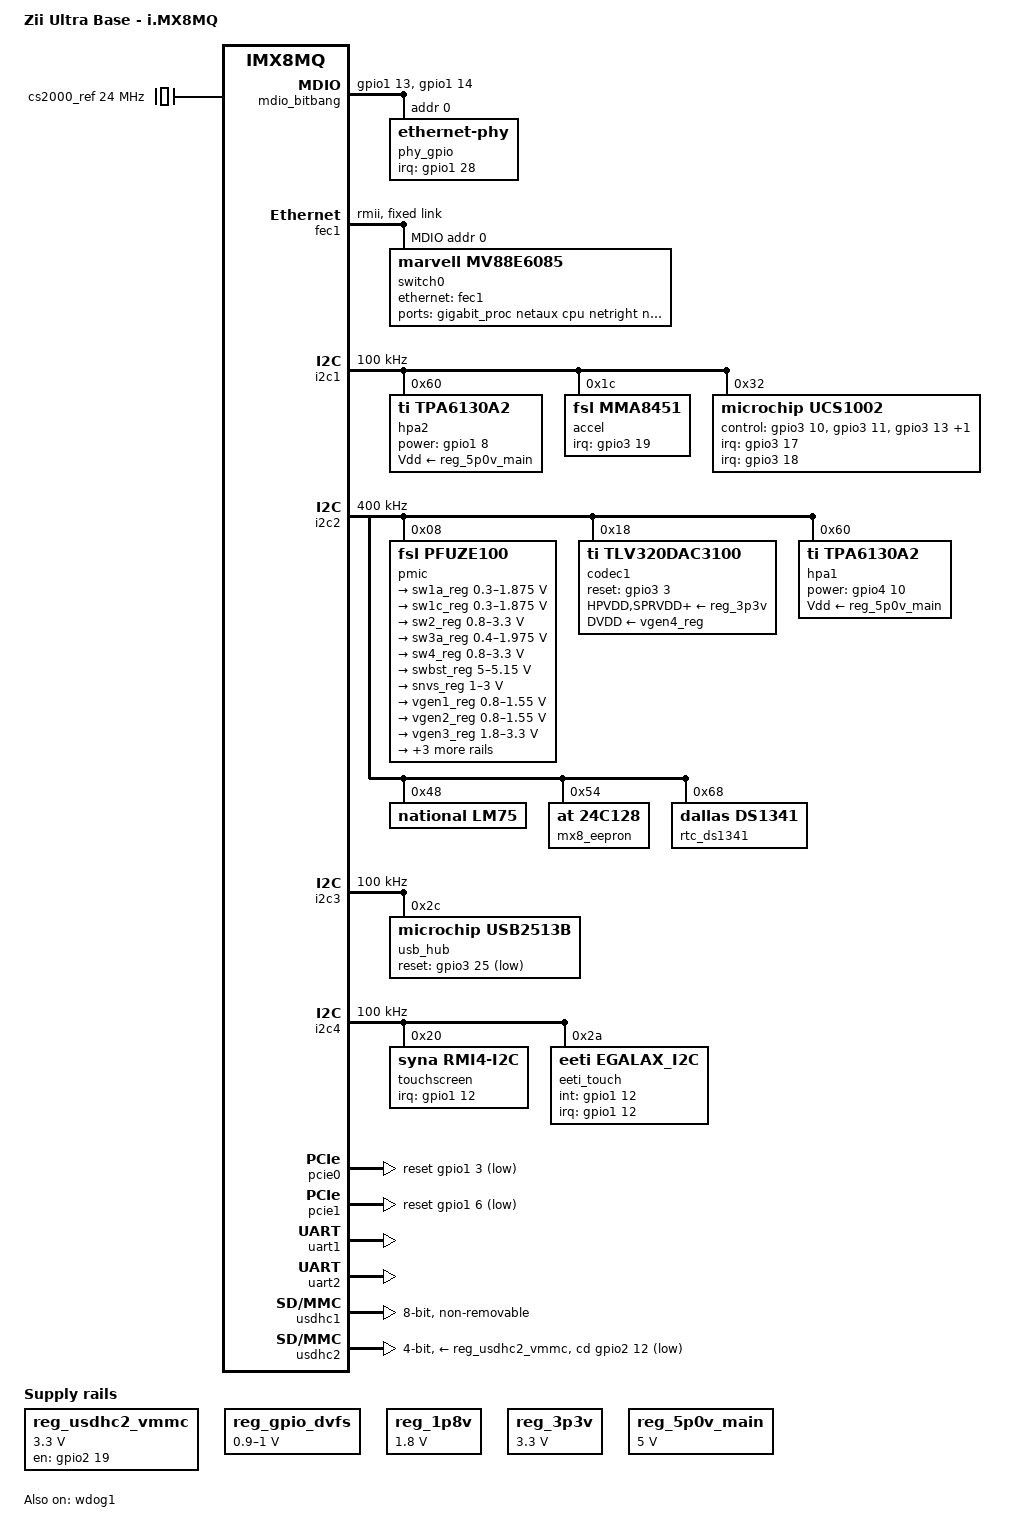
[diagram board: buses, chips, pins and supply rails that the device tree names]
/*
 * Copyright 2018 Zii
 *
 * This program is free software; you can redistribute it and/or
 * modify it under the terms of the GNU General Public License
 * as published by the Free Software Foundation; either version 2
 * of the License, or (at your option) any later version.
 *
 * This program is distributed in the hope that it will be useful,
 * but WITHOUT ANY WARRANTY; without even the implied warranty of
 * MERCHANTABILITY or FITNESS FOR A PARTICULAR PURPOSE.  See the
 * GNU General Public License for more details.
 */



#include "imx8mq.dtsi"

/ {
	model = "Zii Ultra Base - i.MX8MQ";
	compatible = "fsl,imx8mq-evk", "fsl,imx8mq";

	chosen {
		bootargs = "console=ttymxc0,115200 earlycon=ec_imx6q,0x30860000,115200";
		stdout-path = &uart1;
	};

	aliases {
		mdio-gpio0 = &mdio_bitbang;
		rtc0 = &rtc_ds1341;
		/* spi0 = &ecspi1; */
	};

	regulators {
		compatible = "simple-bus";
		#address-cells = <1>;
		#size-cells = <0>;

		reg_usdhc2_vmmc: usdhc2_vmmc {
			compatible = "regulator-fixed";
			regulator-name = "VSD_3V3";
			regulator-min-microvolt = <3300000>;
			regulator-max-microvolt = <3300000>;
			gpio = <&gpio2 19 GPIO_ACTIVE_HIGH>;
			enable-active-high;
		};

		reg_gpio_dvfs: regulator-gpio {
			compatible = "regulator-gpio";
			pinctrl-names = "default";
			pinctrl-0 = <&pinctrl_dvfs>;
			regulator-min-microvolt = <900000>;
			regulator-max-microvolt = <1000000>;
			regulator-name = "gpio_dvfs";
			regulator-type = "voltage";
			gpios = <&gpio3 16 GPIO_ACTIVE_HIGH>;
			states = <900000 0x1 1000000 0x0>;
		};

		reg_1p8v: regulator-1p8v {
			compatible = "regulator-fixed";
			regulator-name = "GEN_1V8";
			regulator-min-microvolt = <1800000>;
			regulator-max-microvolt = <1800000>;
			regulator-always-on;
		};

		reg_3p3v: regulator-3p3v {
			compatible = "regulator-fixed";
			regulator-name = "GEN_3V3";
			regulator-min-microvolt = <3300000>;
			regulator-max-microvolt = <3300000>;
			regulator-always-on;
		};

		reg_5p0v_main: regulator-5p0v-main {
			compatible = "regulator-fixed";
			regulator-name = "5V_MAIN";
			regulator-min-microvolt = <5000000>;
			regulator-max-microvolt = <5000000>;
			regulator-always-on;
		};
	};

	cs2000_ref: cs2000-ref {
		compatible = "fixed-clock";
		#clock-cells = <0>;
		clock-frequency = <24000000>;
	};

	cs2000_in_dummy: cs2000-in-dummy {
		compatible = "fixed-clock";
		#clock-cells = <0>;
		clock-frequency = <0>;
	};
#if 0
	sound1 {
		compatible = "simple-audio-card";
		simple-audio-card,name = "Front";
		simple-audio-card,format = "i2s";
		simple-audio-card,bitclock-master = <&sound1_codec>;
		simple-audio-card,frame-master = <&sound1_codec>;
		simple-audio-card,widgets =
			"Headphone", "Headphone Jack";
		simple-audio-card,routing =
			"Headphone Jack", "HPLEFT",
			"Headphone Jack", "HPRIGHT",
			"LEFTIN", "HPL",
			"RIGHTIN", "HPR";
		simple-audio-card,aux-devs = <&hpa1>;

		simple-audio-card,cpu {
			sound-dai = <&sai2>;
		};

		sound1_codec: simple-audio-card,codec {
			sound-dai = <&codec1>;
			clocks = <&cs2000_ref>;
		};
	};
#endif
	mdio_bitbang: mdio {
		compatible = "virtual,mdio-gpio";
		#address-cells = <1>;
		#size-cells = <0>;
		pinctrl-names = "default";
		pinctrl-0 = <&pinctrl_mdio_bitbang>;
		gpios = <&gpio1 13 GPIO_ACTIVE_HIGH
		         &gpio1 14 GPIO_ACTIVE_HIGH>;

		phy_gpio: ethernet-phy@0 {
			pinctrl-0 = <&pinctrl_rmii_phy_irq>;
			pinctrl-names = "default";
			reg = <0>;
			interrupt-parent = <&gpio1>;
			interrupts = <28 IRQ_TYPE_LEVEL_LOW>;
		};
	};

	discrete_outputs {
                compatible = "gpio-of-helper";
                pinctrl-names = "default";
                pinctrl-0 = <&pinctrl_discrete_out>;
                status = "okay";

		/* This is a bit of a hack to deal with the reset
			GPIO for the KSZ8091 PHY connected to the FEC.
			The PHY is probed via the mdio-gpio bus before the FEC
			is initialized causing a timing problem with the
			reset GPIO. This sets the GPIO to the deasserted
			state prior to the mdio-gpio bus being probed
		*/
                discrete_phy_reset {
                        gpio-name = "micrel_phy_reset_n";
                        gpio = <&gpio1 29 GPIO_ACTIVE_HIGH>;
                        output;
                        init-high;
                };
	};

};

&clk {
	assigned-clocks = <&clk IMX8MQ_AUDIO_PLL1>, <&clk IMX8MQ_AUDIO_PLL2>;
	assigned-clock-rates = <786432000>, <722534400>;
};

&fec1 {
	pinctrl-names = "default";
	pinctrl-0 = <&pinctrl_fec1>;
	phy-mode = "rmii";
	fsl,magic-packet;
	status = "okay";

	fixed-link {
		speed = <100>;
		full-duplex;
	};

	mdio1: mdio {
		#address-cells = <1>;
		#size-cells = <0>;
		status = "okay";

		switch0: switch0@0 {
			compatible = "marvell,mv88e6085";
			#address-cells = <1>;
			#size-cells = <0>;
			reg = <0>;
			eeprom-length = <512>;

			ports {
				#address-cells = <1>;
				#size-cells = <0>;
				port@0 {
					reg = <0>;
					label = "gigabit_proc";
				};

				port@1 {
					reg = <1>;
					label = "netaux";
				};

				port@2 {
					reg = <2>;
					label = "cpu";
					ethernet = <&fec1>;
					fixed-link {
						speed = <100>;
						full-duplex;
					};
				};

				port@3 {
					reg = <3>;
					label = "netright";
				};

				port@4 {
					reg = <4>;
					label = "netleft";
				};
			};
		};
	};
};

&i2c1 {
	clock-frequency = <100000>;
	pinctrl-names = "default";
	pinctrl-0 = <&pinctrl_i2c1>;
	status = "okay";

	hpa2: amp@60 {
		compatible = "ti,tpa6130a2";
		pinctrl-names = "default";
		pinctrl-0 = <&pinctrl_tpa2>;
		reg = <0x60>;
		power-gpio = <&gpio1 8 GPIO_ACTIVE_HIGH>;
		Vdd-supply = <&reg_5p0v_main>;
	};

	accel: mma8452@1c {
		compatible = "fsl,mma8451";
		pinctrl-names = "default";
		pinctrl-0 = <&pinctrl_accel_int>;
		reg = <0x1c>;
		interrupt-parent = <&gpio3>;
		interrupts = <19 IRQ_TYPE_EDGE_RISING
			      20 IRQ_TYPE_EDGE_RISING>;
	};

	ucs1002: ucs1002@32 {
		compatible = "microchip,ucs1002";
		reg = <0x32>;
		pinctrl-names = "default";
		pinctrl-0 = <&pinctrl_ucs1002_pins>;
		interrupts-extended = <&gpio3 17 0>, <&gpio3 18 0>;
		microchip,current-limit = <2000000>;
		control-gpios = <&gpio3 10 GPIO_ACTIVE_HIGH>,	 /* EM_EN */
				<&gpio3 11 GPIO_ACTIVE_HIGH>,	 /* M1 */
				<&gpio3 13 GPIO_ACTIVE_HIGH>,	 /* M2 */
				<&gpio3 12 GPIO_ACTIVE_LOW>;	 /* PWR_EN: Polarity is determined by SEL pin */
	};
};

&i2c2 {
	clock-frequency = <400000>;
	pinctrl-names = "default";
	pinctrl-0 = <&pinctrl_i2c2>;
	status = "okay";

	pmic: pfuze100@08 {
		compatible = "fsl,pfuze100";
		reg = <0x08>;

		regulators {
			sw1a_reg: sw1ab {
				regulator-min-microvolt = <300000>;
				regulator-max-microvolt = <1875000>;
			};

			sw1c_reg: sw1c {
				regulator-min-microvolt = <300000>;
				regulator-max-microvolt = <1875000>;
			};

			sw2_reg: sw2 {
				regulator-min-microvolt = <800000>;
				regulator-max-microvolt = <3300000>;
				regulator-always-on;
			};

			sw3a_reg: sw3ab {
				regulator-min-microvolt = <400000>;
				regulator-max-microvolt = <1975000>;
				regulator-always-on;
			};

			sw4_reg: sw4 {
				regulator-min-microvolt = <800000>;
				regulator-max-microvolt = <3300000>;
				regulator-always-on;
			};

			swbst_reg: swbst {
				regulator-min-microvolt = <5000000>;
				regulator-max-microvolt = <5150000>;
			};

			snvs_reg: vsnvs {
				regulator-min-microvolt = <1000000>;
				regulator-max-microvolt = <3000000>;
				regulator-always-on;
			};

			vref_reg: vrefddr {
				regulator-always-on;
			};

			vgen1_reg: vgen1 {
				regulator-min-microvolt = <800000>;
				regulator-max-microvolt = <1550000>;
			};

			vgen2_reg: vgen2 {
				regulator-min-microvolt = <800000>;
				regulator-max-microvolt = <1550000>;
				regulator-always-on;
			};

			vgen3_reg: vgen3 {
				regulator-min-microvolt = <1800000>;
				regulator-max-microvolt = <3300000>;
				regulator-always-on;
			};

			vgen4_reg: vgen4 {
				regulator-min-microvolt = <1800000>;
				regulator-max-microvolt = <3300000>;
				regulator-always-on;
			};

			vgen5_reg: vgen5 {
				regulator-min-microvolt = <1800000>;
				regulator-max-microvolt = <3300000>;
				regulator-always-on;
			};

			vgen6_reg: vgen6 {
				regulator-min-microvolt = <1800000>;
				regulator-max-microvolt = <3300000>;
			};
		};
	};

	codec1: codec@18 {
		compatible = "ti,tlv320dac3100";
		pinctrl-names = "default";
		pinctrl-0 = <&pinctrl_codec1>;
		reg = <0x18>;
		#sound-dai-cells = <0>;
		HPVDD-supply = <&reg_3p3v>;
		SPRVDD-supply = <&reg_3p3v>;
		SPLVDD-supply = <&reg_3p3v>;
		AVDD-supply = <&reg_3p3v>;
		IOVDD-supply = <&reg_3p3v>;
		DVDD-supply = <&vgen4_reg>;
		gpio-reset = <&gpio3 3 GPIO_ACTIVE_HIGH>;
	};

	hpa1: amp@60 {
		compatible = "ti,tpa6130a2";
		pinctrl-names = "default";
		pinctrl-0 = <&pinctrl_tpa1>;
		reg = <0x60>;
		power-gpio = <&gpio4 10 GPIO_ACTIVE_HIGH>;
		Vdd-supply = <&reg_5p0v_main>;
	};

	lm75@48 {
		compatible = "national,lm75";
		reg = <0x48>;
	};

	mx8_eepron: at24@54 {
		compatible = "at,24c128";
		pagesize = <32>;
		reg = <0x54>;
	};

	rtc_ds1341: ds1341@68 {
		compatible = "dallas,ds1341";
		reg = <0x68>;
	};
};

&i2c3 {
	clock-frequency = <100000>;
	pinctrl-names = "default";
	pinctrl-0 = <&pinctrl_i2c3>;
	status = "okay";

	usb_hub: usb2513b@2c {
		compatible = "microchip,usb2513b";
		pinctrl-names = "default";
		pinctrl-0 = <&pinctrl_usb2513b>;
		#address-cells=<1>;
		#size-cells=<1>;
		reg = <0x2C>;
		reset-gpios = <&gpio3 25 GPIO_ACTIVE_LOW>;
	};

#if 0
	cs2000: clkgen@4e {
		compatible = "cirrus,cs2000-cp";
		reg = <0x4e>;
		#clock-cells = <0>;
		clock-names = "clk_in", "ref_clk";
		clocks = <&cs2000_in_dummy>, <&cs2000_ref>;
		assigned-clocks = <&cs2000>;
		assigned-clock-rates = <24000000>;
	};
#endif
};

&i2c4 {
	clock-frequency = <100000>;
	pinctrl-names = "default";
	pinctrl-0 = <&pinctrl_i2c4>;
	status = "okay";

	touchscreen@20 {
		compatible = "syna,rmi4-i2c";
		pinctrl-names = "default";
		pinctrl-0 = <&pinctrl_ts>;
		reg = <0x20>;
		interrupt-parent = <&gpio1>;
		interrupts = <12 IRQ_TYPE_LEVEL_LOW>;

		#address-cells = <1>;
		#size-cells = <0>;

		rmi4-f01@1 {
			reg = <0x1>;
			syna,nosleep-mode = <2>;
		};

		rmi4-f11@11 {
			reg = <0x11>;
			touchscreen-inverted-y;
			touchscreen-swapped-x-y;
			syna,sensor-type = <1>;
		};

		rmi4-f12@12 {
			reg = <0x12>;
			touchscreen-inverted-y;
			touchscreen-swapped-x-y;
			syna,sensor-type = <1>;
		};
	};

	eeti_touch: eeti_i2c@2a {
		compatible = "eeti,egalax_i2c";
		reg = <0x2a>;
		interrupt-parent = <&gpio1>;
		interrupts = <12 IRQ_TYPE_LEVEL_LOW>;
		int-gpios = <&gpio1 12 0>;
	};
};

&pcie0 {
	pinctrl-names = "default";
	pinctrl-0 = <&pinctrl_pcie0>;
	reset-gpio = <&gpio1 3 GPIO_ACTIVE_LOW>;
	/* status = "okay"; */
};

&pcie1 {
	pinctrl-names = "default";
	pinctrl-0 = <&pinctrl_pcie1>;
	reset-gpio = <&gpio1 6 GPIO_ACTIVE_LOW>;
	status = "okay";

	pcie@0,0 {
		reg = <0x000000 0 0 0 0>;

		#address-cells = <3>;
		#size-cells = <2>;

		/* pcie endpoint 01:00.0 */
		eth1: intel,i210@pcie0,0 {
                         reg = <0x010000 0 0 0 0>;
                };
	};
};

#if 0
&ecspi1 {
	pinctrl-names = "default";
	pinctrl-0 = <&pinctrl_ecspi1>;
	cs-gpios = <&gpio5 9 GPIO_ACTIVE_LOW>;
	status = "okay";

	nor_flash: m25p128@0 {
		compatible = "st,m25p128", "jedec,spi-nor";
		#address-cells = <1>;
		#size-cells = <1>;
		spi-max-frequency = <20000000>;
		reg = <0>;
	};
};

&ecspi2 {
	pinctrl-names = "default";
	pinctrl-0 = <&pinctrl_ecspi2>;
	status = "okay";
};
#endif
&uart1 { /* console */
	pinctrl-names = "default";
	pinctrl-0 = <&pinctrl_uart1>;
	/* assigned-clocks = <&clk IMX8MQ_CLK_UART1_SRC>; */
	/* assigned-clock-parents = <&clk IMX8MQ_CLK_25M>; */
	status = "okay";
};

&uart2 { /* Supervisory Processor */
	pinctrl-names = "default";
	pinctrl-0 = <&pinctrl_uart2>;
	/* assigned-clocks = <&clk IMX8MQ_CLK_UART2_SRC>; */
	/* assigned-clock-parents = <&clk IMX8MQ_SYS1_PLL_80M>; */
	status = "okay";
};

&usdhc1 {
	pinctrl-names = "default", "state_100mhz", "state_200mhz";
	pinctrl-0 = <&pinctrl_usdhc1>;
	pinctrl-1 = <&pinctrl_usdhc1_100mhz>;
	pinctrl-2 = <&pinctrl_usdhc1_200mhz>;
	bus-width = <8>;
	non-removable;
	status = "okay";
};

&usdhc2 {
	pinctrl-names = "default", "state_100mhz", "state_200mhz";
	pinctrl-0 = <&pinctrl_usdhc2>, <&pinctrl_usdhc2_gpio>;
	pinctrl-1 = <&pinctrl_usdhc2_100mhz>, <&pinctrl_usdhc2_gpio>;
	pinctrl-2 = <&pinctrl_usdhc2_200mhz>, <&pinctrl_usdhc2_gpio>;
	bus-width = <4>;
	cd-gpios = <&gpio2 12 GPIO_ACTIVE_LOW>;
	vmmc-supply = <&reg_usdhc2_vmmc>;
	status = "okay";
};
#if 0
&usb_dwc3_0 {
	status = "okay";
	dr_mode = "host";
};

&usb3_phy0 {
	status = "okay";
};

&usb3_0 {
	status = "okay";
};

&usb_dwc3_1 {
	status = "okay";
	dr_mode = "host";
};

&usb3_phy1 {
	status = "okay";
};

&usb3_1 {
	status = "okay";
};

&sai2 {
	pinctrl-names = "default";
	pinctrl-0 = <&pinctrl_sai2>;
	/* assigned-clocks = <&clk IMX8MQ_CLK_SAI2_SRC>, */
	/* 		<&clk IMX8MQ_CLK_SAI2_DIV>; */
	/* assigned-clock-parents = <&clk IMX8MQ_AUDIO_PLL1_OUT>; */
	/* assigned-clock-rates = <0>, <24576000>; */
	status = "okay";

	#sound-dai-cells = <0>;
};

&gpu_pd {
	power-supply = <&sw1a_reg>;
};

&vpu_pd {
	power-supply = <&sw1c_reg>;
};

&gpu {
	status = "okay";
};

&vpu {
	status = "okay";
};

#endif

&wdog1 {
	pinctrl-names = "default";
	pinctrl-0 = <&pinctrl_wdog>;
	fsl,ext-reset-output;
	status = "okay";
};
#if 0
&mu {
	status = "okay";
};

&rpmsg{
	/*
	 * 64K for one rpmsg instance:
	 * --0xb8000000~0xb800ffff: pingpong
	 */
	vdev-nums = <1>;
	reg = <0x0 0xb8000000 0x0 0x10000>;
	status = "okay";
};
#endif

&A53_0 {
	operating-points = <
		/* kHz    uV */
		1500000 1000000
		1300000 1000000
		1000000 900000
		800000  900000
	>;
	dc-supply = <&reg_gpio_dvfs>;
};
#if 0
&dcss {
	status = "okay";

	disp-dev = "hdmi_disp";
};

&hdmi {
	status = "okay";
	compatible = "fsl,imx8mq-dp";
	dp-lane-mapping = <0xe4>;
	dp-link-rate = <0x14>;
	dp-num-lanes = <0x4>;

};
#endif

&iomuxc {
	pinctrl-names = "default";
	pinctrl-0 = <&pinctrl_hog>;

	zii-imx8mq-rmb3 {
		pinctrl_hog: hoggrp {
			fsl,pins = <
				MX8MQ_IOMUXC_NAND_CLE_GPIO3_IO5		0x41 /* MX8_LCD_BKLT_EN */
				MX8MQ_IOMUXC_UART3_RXD_GPIO5_IO26	0x41 /* MX8_3V3_DISPLAY_EN */
				MX8MQ_IOMUXC_UART3_TXD_GPIO5_IO27	0x41 /* MX8_12V_BACKLIGHT_EN */
				MX8MQ_IOMUXC_GPIO1_IO01_GPIO1_IO1	0x41 /* PIC_POWER_LOSS_INTn */
				MX8MQ_IOMUXC_GPIO1_IO05_GPIO1_IO5	0x41 /* MX8_TO_PIC_INTn */


				MX8MQ_IOMUXC_ENET_TD3_GPIO1_IO18	0x44 /* TP4 */
				MX8MQ_IOMUXC_ENET_TXC_GPIO1_IO23	0x44 /* TP3 */

				MX8MQ_IOMUXC_SAI5_RXD0_GPIO3_IO21	0x41 /* SYS_TYPE_3 */
				MX8MQ_IOMUXC_SAI5_RXD1_GPIO3_IO22	0x41 /* SYS_TYPE_2 */
				MX8MQ_IOMUXC_SAI5_RXD2_GPIO3_IO23	0x41 /* SYS_TYPE_1 */
				MX8MQ_IOMUXC_SAI5_RXD3_GPIO3_IO24	0x41 /* SYS_TYPE_0 */
			>;
		};

		pinctrl_discrete_out: phyresetgrp {
                        fsl,pins = <
                                MX8MQ_IOMUXC_ENET_RD3_GPIO1_IO29	0x04 /* RSTn */
                        >;
                };


		pinctrl_fec1: fec1grp {
			fsl,pins = <
				MX8MQ_IOMUXC_ENET_MDC_ENET1_MDC			0x3
				MX8MQ_IOMUXC_ENET_MDIO_ENET1_MDIO		0x23

				MX8MQ_IOMUXC_ENET_TD1_ENET1_RGMII_TD1		0x1f
				MX8MQ_IOMUXC_ENET_TD0_ENET1_RGMII_TD0		0x1f
				MX8MQ_IOMUXC_ENET_RD1_ENET1_RGMII_RD1		0x91
				MX8MQ_IOMUXC_ENET_RD0_ENET1_RGMII_RD0		0x91

				MX8MQ_IOMUXC_ENET_TD2_ENET1_TX_CLK		0x1f
				MX8MQ_IOMUXC_ENET_RXC_ENET1_RX_ER		0x91

				/* Really just test point for now */
				MX8MQ_IOMUXC_GPIO1_IO09_GPIO1_IO9		0x19

				MX8MQ_IOMUXC_ENET_RX_CTL_ENET1_RGMII_RX_CTL	0x91
				MX8MQ_IOMUXC_ENET_TX_CTL_ENET1_RGMII_TX_CTL	0x1f
			>;
		};

		pinctrl_mdio_bitbang: bitbangmdiogrp {
			fsl,pins = <
				/* Bitbang MDIO for Micrel PHY */
				MX8MQ_IOMUXC_GPIO1_IO13_GPIO1_IO13	0x44 /* SWITCH_MDC */
				MX8MQ_IOMUXC_GPIO1_IO14_GPIO1_IO14	0x64 /* SWITCH_MDIO */
			>;
		};

		pinctrl_rmii_phy_irq: phygrp {
			fsl,pins = <
				MX8MQ_IOMUXC_ENET_RD2_GPIO1_IO28	0x41
			>;
		};

		pinctrl_i2c1: i2c1grp {
			fsl,pins = <
				MX8MQ_IOMUXC_I2C1_SCL_I2C1_SCL		0x4000007f
				MX8MQ_IOMUXC_I2C1_SDA_I2C1_SDA		0x4000007f
			>;
		};

		pinctrl_i2c2: i2c2grp {
			fsl,pins = <
				MX8MQ_IOMUXC_I2C2_SCL_I2C2_SCL		0x4000007f
				MX8MQ_IOMUXC_I2C2_SDA_I2C2_SDA		0x4000007f
			>;
		};

		pinctrl_i2c3: i2c3grp {
			fsl,pins = <
				MX8MQ_IOMUXC_I2C3_SCL_I2C3_SCL		0x4000007f
				MX8MQ_IOMUXC_I2C3_SDA_I2C3_SDA		0x4000007f
			>;
		};

		pinctrl_i2c4: i2c4grp {
			fsl,pins = <
				MX8MQ_IOMUXC_I2C4_SCL_I2C4_SCL		0x4000007f
				MX8MQ_IOMUXC_I2C4_SDA_I2C4_SDA		0x4000007f
			>;
		};

		pinctrl_pcie0: pcie0grp {
			fsl,pins = <
				MX8MQ_IOMUXC_UART4_RXD_PCIE1_CLKREQ_B	0x76
				MX8MQ_IOMUXC_GPIO1_IO03_GPIO1_IO3	0x16
			>;
		};

		pinctrl_pcie1: pcie1grp {
			fsl,pins = <
				MX8MQ_IOMUXC_UART4_TXD_PCIE2_CLKREQ_B	0x76
				MX8MQ_IOMUXC_GPIO1_IO06_GPIO1_IO6	0x16
			>;
		};

		pinctrl_dvfs: dvfsgrp {
			fsl,pins = <
				MX8MQ_IOMUXC_NAND_READY_B_GPIO3_IO16	0x16
			>;
		};

		pinctrl_ecspi1: ecspi1grp {
			fsl,pins = <
				MX8MQ_IOMUXC_ECSPI1_SS0_ECSPI1_SS0      0x82
				MX8MQ_IOMUXC_ECSPI1_SCLK_ECSPI1_SCLK    0x82
				MX8MQ_IOMUXC_ECSPI1_MISO_ECSPI1_MISO    0x82
				MX8MQ_IOMUXC_ECSPI1_MOSI_ECSPI1_MOSI    0x82
			>;
		};

		pinctrl_ecspi2: ecspi2grp {
			fsl,pins = <
				MX8MQ_IOMUXC_ECSPI2_SS0_ECSPI2_SS0      0x82
				MX8MQ_IOMUXC_ECSPI2_SCLK_ECSPI2_SCLK    0x82
				MX8MQ_IOMUXC_ECSPI2_MISO_ECSPI2_MISO    0x82
				MX8MQ_IOMUXC_ECSPI2_MOSI_ECSPI2_MOSI    0x82
			>;
		};

		pinctrl_uart1: uart1grp {
			fsl,pins = <
				MX8MQ_IOMUXC_UART1_RXD_UART1_DCE_RX		0x49
				MX8MQ_IOMUXC_UART1_TXD_UART1_DCE_TX		0x49
			>;
		};

		pinctrl_uart2: uart2grp {
			fsl,pins = <
				MX8MQ_IOMUXC_UART2_TXD_UART2_DCE_TX		0x49
				MX8MQ_IOMUXC_UART2_RXD_UART2_DCE_RX		0x49
			>;
		};

		pinctrl_usdhc1: usdhc1grp {
			fsl,pins = <
				MX8MQ_IOMUXC_SD1_CLK_USDHC1_CLK			0x83
				MX8MQ_IOMUXC_SD1_CMD_USDHC1_CMD			0xc3
				MX8MQ_IOMUXC_SD1_DATA0_USDHC1_DATA0		0xc3
				MX8MQ_IOMUXC_SD1_DATA1_USDHC1_DATA1		0xc3
				MX8MQ_IOMUXC_SD1_DATA2_USDHC1_DATA2		0xc3
				MX8MQ_IOMUXC_SD1_DATA3_USDHC1_DATA3		0xc3
				MX8MQ_IOMUXC_SD1_DATA4_USDHC1_DATA4		0xc3
				MX8MQ_IOMUXC_SD1_DATA5_USDHC1_DATA5		0xc3
				MX8MQ_IOMUXC_SD1_DATA6_USDHC1_DATA6		0xc3
				MX8MQ_IOMUXC_SD1_DATA7_USDHC1_DATA7		0xc3
				MX8MQ_IOMUXC_SD1_STROBE_USDHC1_STROBE		0x83
				MX8MQ_IOMUXC_SD1_RESET_B_USDHC1_RESET_B		0xc1
			>;
		};

		pinctrl_usdhc1_100mhz: usdhc1grp100mhz {
			fsl,pins = <
				MX8MQ_IOMUXC_SD1_CLK_USDHC1_CLK			0x85
				MX8MQ_IOMUXC_SD1_CMD_USDHC1_CMD			0xc5
				MX8MQ_IOMUXC_SD1_DATA0_USDHC1_DATA0		0xc5
				MX8MQ_IOMUXC_SD1_DATA1_USDHC1_DATA1		0xc5
				MX8MQ_IOMUXC_SD1_DATA2_USDHC1_DATA2		0xc5
				MX8MQ_IOMUXC_SD1_DATA3_USDHC1_DATA3		0xc5
				MX8MQ_IOMUXC_SD1_DATA4_USDHC1_DATA4		0xc5
				MX8MQ_IOMUXC_SD1_DATA5_USDHC1_DATA5		0xc5
				MX8MQ_IOMUXC_SD1_DATA6_USDHC1_DATA6		0xc5
				MX8MQ_IOMUXC_SD1_DATA7_USDHC1_DATA7		0xc5
				MX8MQ_IOMUXC_SD1_STROBE_USDHC1_STROBE		0x85
				MX8MQ_IOMUXC_SD1_RESET_B_USDHC1_RESET_B		0xc1
			>;
		};

		pinctrl_usdhc1_200mhz: usdhc1grp200mhz {
			fsl,pins = <
				MX8MQ_IOMUXC_SD1_CLK_USDHC1_CLK			0x87
				MX8MQ_IOMUXC_SD1_CMD_USDHC1_CMD			0xc7
				MX8MQ_IOMUXC_SD1_DATA0_USDHC1_DATA0		0xc7
				MX8MQ_IOMUXC_SD1_DATA1_USDHC1_DATA1		0xc7
				MX8MQ_IOMUXC_SD1_DATA2_USDHC1_DATA2		0xc7
				MX8MQ_IOMUXC_SD1_DATA3_USDHC1_DATA3		0xc7
				MX8MQ_IOMUXC_SD1_DATA4_USDHC1_DATA4		0xc7
				MX8MQ_IOMUXC_SD1_DATA5_USDHC1_DATA5		0xc7
				MX8MQ_IOMUXC_SD1_DATA6_USDHC1_DATA6		0xc7
				MX8MQ_IOMUXC_SD1_DATA7_USDHC1_DATA7		0xc7
				MX8MQ_IOMUXC_SD1_STROBE_USDHC1_STROBE		0x87
				MX8MQ_IOMUXC_SD1_RESET_B_USDHC1_RESET_B		0xc1
			>;
		};

		pinctrl_usdhc2_gpio: usdhc2grpgpio {
			fsl,pins = <
				MX8MQ_IOMUXC_SD2_CD_B_GPIO2_IO12		0x41
				MX8MQ_IOMUXC_SD2_RESET_B_GPIO2_IO19		0x41
			>;
		};

		pinctrl_usdhc2: usdhc2grp {
			fsl,pins = <
				MX8MQ_IOMUXC_SD2_CLK_USDHC2_CLK			0x83
				MX8MQ_IOMUXC_SD2_CMD_USDHC2_CMD			0xc3
				MX8MQ_IOMUXC_SD2_DATA0_USDHC2_DATA0		0xc3
				MX8MQ_IOMUXC_SD2_DATA1_USDHC2_DATA1		0xc3
				MX8MQ_IOMUXC_SD2_DATA2_USDHC2_DATA2		0xc3
				MX8MQ_IOMUXC_SD2_DATA3_USDHC2_DATA3		0xc3
				MX8MQ_IOMUXC_GPIO1_IO04_USDHC2_VSELECT		0xc1
			>;
		};

		pinctrl_usdhc2_100mhz: usdhc2grp100mhz {
			fsl,pins = <
				MX8MQ_IOMUXC_SD2_CLK_USDHC2_CLK			0x85
				MX8MQ_IOMUXC_SD2_CMD_USDHC2_CMD			0xc5
				MX8MQ_IOMUXC_SD2_DATA0_USDHC2_DATA0		0xc5
				MX8MQ_IOMUXC_SD2_DATA1_USDHC2_DATA1		0xc5
				MX8MQ_IOMUXC_SD2_DATA2_USDHC2_DATA2		0xc5
				MX8MQ_IOMUXC_SD2_DATA3_USDHC2_DATA3		0xc5
				MX8MQ_IOMUXC_GPIO1_IO04_USDHC2_VSELECT		0xc1
			>;
		};

		pinctrl_usdhc2_200mhz: usdhc2grp200mhz {
			fsl,pins = <
				MX8MQ_IOMUXC_SD2_CLK_USDHC2_CLK			0x87
				MX8MQ_IOMUXC_SD2_CMD_USDHC2_CMD			0xc7
				MX8MQ_IOMUXC_SD2_DATA0_USDHC2_DATA0		0xc7
				MX8MQ_IOMUXC_SD2_DATA1_USDHC2_DATA1		0xc7
				MX8MQ_IOMUXC_SD2_DATA2_USDHC2_DATA2		0xc7
				MX8MQ_IOMUXC_SD2_DATA3_USDHC2_DATA3		0xc7
				MX8MQ_IOMUXC_GPIO1_IO04_USDHC2_VSELECT		0xc1
			>;
		};

		pinctrl_sai2: sai2grp {
			fsl,pins = <
				MX8MQ_IOMUXC_SAI2_TXFS_SAI2_TX_SYNC	0xd6
				MX8MQ_IOMUXC_SAI2_TXC_SAI2_TX_BCLK	0xd6
				MX8MQ_IOMUXC_SAI2_TXD0_SAI2_TX_DATA0	0xd6
			>;
		};

		pinctrl_wdog: wdoggrp {
			fsl,pins = <
				MX8MQ_IOMUXC_GPIO1_IO02_WDOG1_WDOG_B 0xc6
			>;
		};

		pinctrl_codec1: dac1grp {
			fsl,pins = <
				MX8MQ_IOMUXC_NAND_CE2_B_GPIO3_IO3 0x41
			>;
		};

		pinctrl_tpa1: tpa6130-1grp {
			fsl,pins = <
				MX8MQ_IOMUXC_SAI1_TXFS_GPIO4_IO10  0x41
			>;
		};

		pinctrl_tpa2: tpa6130-2grp {
			fsl,pins = <
				MX8MQ_IOMUXC_GPIO1_IO08_GPIO1_IO8  0x41
			>;
		};

		pinctrl_ucs1002_pins: ucs1002grp {
			/* USB Charging Controller */
			fsl,pins = <
				MX8MQ_IOMUXC_NAND_WE_B_GPIO3_IO17    0x41 /*USB_ATT_DETn*/
				MX8MQ_IOMUXC_NAND_DATA04_GPIO3_IO10  0x41 /*USB_EMULATION*/
				MX8MQ_IOMUXC_NAND_DATA05_GPIO3_IO11  0x41 /*USB_MODE1*/
				MX8MQ_IOMUXC_NAND_WP_B_GPIO3_IO18    0x41 /*USB_ALERTn*/
				MX8MQ_IOMUXC_NAND_DATA06_GPIO3_IO12  0x41 /*USB_PWR_CTRL_ENn*/
				MX8MQ_IOMUXC_NAND_DATA07_GPIO3_IO13  0x41 /*USB_MODE2*/
			>;
		};

		pinctrl_usb2513b: usb2513bgrp {
			fsl,pins = <
				MX8MQ_IOMUXC_SAI5_MCLK_GPIO3_IO25    0x41
			>;
		};

		pinctrl_accel_int: accelintgrp {
			fsl,pins = <
				MX8MQ_IOMUXC_SAI5_RXFS_GPIO3_IO19    0x41
				MX8MQ_IOMUXC_SAI5_RXC_GPIO3_IO20     0x41
			>;
		};

		pinctrl_ts: tsgrp {
			fsl,pins = <
				MX8MQ_IOMUXC_GPIO1_IO11_GPIO1_IO11	0x96
				MX8MQ_IOMUXC_GPIO1_IO12_GPIO1_IO12	0x96
			>;
		};
	};
};
